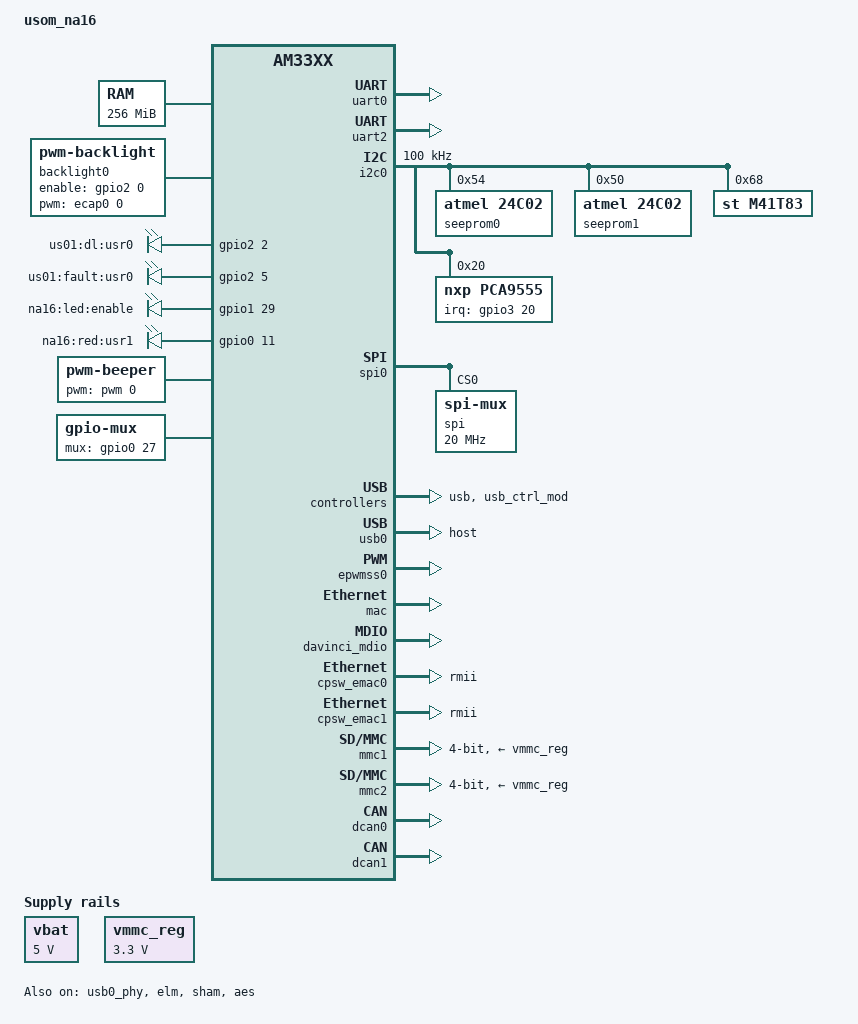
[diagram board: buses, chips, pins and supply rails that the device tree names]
/*
 * Copyright (C) 2012 Texas Instruments Incorporated - http://www.ti.com/
 *
 * This program is free software; you can redistribute it and/or modify
 * it under the terms of the GNU General Public License version 2 as
 * published by the Free Software Foundation.
 */
/dts-v1/;

#include "am33xx.dtsi"
#include <dt-bindings/interrupt-controller/irq.h>

/ {
	model = "usom_na16";
	compatible = "ti,am335x-evm", "ti,am33xx";

	memory@80000000 {
		device_type = "memory";
		reg = <0x80000000 0x10000000>; /* 256 MB */
	};

	chosen {
		stdout-path = &uart0;
	};
	
	vbat: fixedregulator@0 {
		compatible = "regulator-fixed";
		regulator-name = "vbat";
		regulator-min-microvolt = <5000000>;
		regulator-max-microvolt = <5000000>;
		regulator-boot-on;
	};

	vmmc_reg: fixedregulator@1 {
		compatible = "regulator-fixed";
		regulator-name = "vmmc";
		regulator-min-microvolt = <3300000>;
		regulator-max-microvolt = <3300000>;
		regulator-boot-on;
		regulator-always-on;
	};

	backlight0: backlight {
		compatible = "pwm-backlight";
		pwms = <&ecap0 0 50000 0>;
		brightness-levels = <0 4 8 12 16 20 24 28 32 36 40 44 48 52 56 60 64 68 72 76 80 84 88 92 96 100>;
		default-brightness-level = <0>;
		enable-gpios = <&gpio2 0 0>;
	};

	leds {
		pinctrl-names = "default";
		pinctrl-0 = <&user_leds_default>;

		compatible = "gpio-leds";

		led@1 {
			label = "us01:dl:usr0";
			gpios = <&gpio2 2 GPIO_ACTIVE_HIGH>;
			default-state = "on";
		};

		led@2 {
			label = "us01:fault:usr0";
			gpios = <&gpio2 5 GPIO_ACTIVE_HIGH>;
			default-state = "off";
		};

		led@3 {
			label = "na16:led:enable";
			gpios = <&gpio1 29 GPIO_ACTIVE_HIGH>;
			default-state = "on";
		};

		led@4 {
			label = "na16:red:usr1";
			gpios = <&gpio0 11 GPIO_ACTIVE_HIGH>;
			default-state = "on";
		};
	};
	
	pwm: omap-pwm {
	  compatible = "ti,omap-dmtimer-pwm";
	  ti,timers = <&timer6>;
	  #pwm-cells = <3>;
	};

	working_hours {
	  compatible = "working_hours";
	  nvmem-names = "eeprom", "rtcnvram";
	  nvmem = <&seeprom0>, <&m41t83>;
	  status = "okay";
	};	
	
	beeper {
	  compatible = "pwm-beeper";
	  pwms = <&pwm 0 50000 0>;
	};

	mux: mux-controller {
		compatible = "gpio-mux";
		#mux-control-cells = <0>;
		mux-gpios = <&gpio0 27 0>;
	};
};

&uart0 {
	/delete-property/dmas;
	/delete-property/dma-names;
	pinctrl-names = "default";
	pinctrl-0 = <&uart0_pins>;
	rts-gpio = <&gpio1 6 0>;
	mode-gpio = <&gpio1 7 0>;
	rxen-gpio = <&gpio1 5 0>;
	rs485-rts-active-high;
	status = "okay";
};

&uart2 {
	/delete-property/dmas;
	/delete-property/dma-names;
	pinctrl-names = "default";
	pinctrl-0 = <&uart2_pins>;
	rts-gpio = <&gpio3 16 0>;
	mode-gpio = <&gpio3 15 0>;
	rxen-gpio = <&gpio3 21 0>;
	rs485-rts-active-high;
	status = "okay";
};

&i2c0 {
	pinctrl-names = "default";
	pinctrl-0 = <&i2c0_pins>;

	status = "okay";
	clock-frequency = <100000>;

	seeprom0:seeprom0@54 {
		compatible = "atmel,24c02";
		reg = <0x54>;
	};

	seeprom1:seeprom1@50 {
		compatible = "atmel,24c02";
		reg = <0x50>;
	};
			
	m41t83:m41t83@68 {
		compatible = "st,m41t83";
		reg = <0x68>;
	};

	pca9555: pca9555@20 {
		compatible = "nxp,pca9555";
		interrupt-parent = <&gpio3>;
		interrupts = <20 0x8>;
		gpio-controller;
		#gpio-cells = <2>;
		interrupt-controller;
		#interrupt-cells = <2>;
		reg = <0x20>;
	};
};

&spi0 {
	pinctrl-names = "default";
	pinctrl-0 = <&spi0_pins>;
	bus-num = <0>;
	status = "okay";

	spi@0 {
	  compatible = "spi-mux";
	  #address-cells = <1>;
	  #size-cells = <0>;
	  reg = <0>;
	  spi-max-frequency = <20000000>;
	  mux-controls = <&mux>;
	  
	  tja1145: tja1145@0 {
	    compatible = "nxp,tja1145";
	    reg = <0>;
	    spi-cpha;
	    spi-max-frequency = <500000>;
	  };
			  
	  fram: at25@1 {
	    compatible = "atmel,at25", "st,m95256";
	    reg = <1>;
	    spi-max-frequency = <20000000>;
	    pagesize = <64>;
	    size = <65536>;
	    address-width = <16>;
	  };
	};
};
		
&usb {
	status = "okay";
};

&usb_ctrl_mod {
	status = "okay";
};

&usb0_phy {
	status = "okay";
};

&usb0 {
	status = "okay";
	dr_mode = "host";
};

&cppi41dma  {
	status = "okay";
};

&elm {
	status = "okay";
};

&epwmss0 {
	status = "okay";

	ecap0: pwm@100 {
		status = "okay";
		pinctrl-names = "default", "sleep";
		pinctrl-0 = <&ecap0_pins_default>;
		pinctrl-1 = <&ecap0_pins_sleep>;
	};
};

&mac {
	slaves = <2>;
	pinctrl-names = "default", "sleep";
	pinctrl-0 = <&cpsw_default>;
	pinctrl-1 = <&cpsw_sleep>;
	dual_emac;
	status = "okay";
};

&davinci_mdio {
	pinctrl-names = "default", "sleep";
	pinctrl-0 = <&davinci_mdio_default>;
	pinctrl-1 = <&davinci_mdio_sleep>;
	status = "okay";
};

&cpsw_emac0 {
  phy_id = <&davinci_mdio>, <0>;
  phy-mode = "rmii";
  status = "okay";
};

&cpsw_emac1 {
  phy_id = <&davinci_mdio>, <1>;
  phy-mode = "rmii";
  status = "okay";
};

&mmc1 {
	status = "okay";
	vmmc-supply = <&vmmc_reg>;
	bus-width = <4>;
	pinctrl-names = "default", "sleep";
	pinctrl-0 = <&mmc1_pins_default>;
	pinctrl-1 = <&mmc1_pins_sleep>;
};

&mmc2 {
  vmmc-supply = <&vmmc_reg>;
  pinctrl-names = "default";
  pinctrl-0 = <&emmc_pins>;
  bus-width = <4>;
  ti,non-removable;
  status = "okay";
};

&edma {
	ti,edma-xbar-event-map = <1 12
				  2 13>;
};

&dcan0 {
	pinctrl-names = "default";
	pinctrl-0 = <&dcan0_pins_default>;
	status = "okay";
};

&dcan1 {
	pinctrl-names = "default";
	pinctrl-0 = <&dcan1_pins_default>;
	status = "okay";
};

&sham {
	status = "okay";
};

&aes {
	status = "okay";
};

&am33xx_pinmux {
		pinctrl-names = "default";
		pinctrl-0 = <&clkout2_pin &phyuart_ctrl_pins &buzzer_pins_enable>;

		i2c0_pins: pinmux_i2c0_pins {
			pinctrl-single,pins = <
				AM33XX_PADCONF(AM335X_PIN_I2C0_SDA, PIN_INPUT_PULLUP, MUX_MODE0)	/* i2c0_sda.i2c0_sda */
				AM33XX_PADCONF(AM335X_PIN_I2C0_SCL, PIN_INPUT_PULLUP, MUX_MODE0)	/* i2c0_scl.i2c0_scl */
				AM33XX_PADCONF(AM335X_PIN_MCASP0_AXR1, PIN_INPUT_PULLDOWN, MUX_MODE7)	/* i2c0_scl.i2c0_scl */
			>;
		};

		spi0_pins: pinmux_spi0_pins {
			pinctrl-single,pins = <
				AM33XX_PADCONF(AM335X_PIN_SPI0_SCLK, PIN_INPUT_PULLUP, MUX_MODE0)
				AM33XX_PADCONF(AM335X_PIN_SPI0_D0, PIN_INPUT_PULLUP, MUX_MODE0) 
				AM33XX_PADCONF(AM335X_PIN_SPI0_D1, PIN_INPUT_PULLUP, MUX_MODE0) 
				AM33XX_PADCONF(AM335X_PIN_SPI0_CS0, PIN_INPUT_PULLUP, MUX_MODE0) 
				AM33XX_PADCONF(AM335X_PIN_GPMC_AD11, PIN_INPUT_PULLUP, MUX_MODE7)   /* gpmc_ad11, SEL_CS_SP1 gpio, pullup (Select FRAM) */
				AM33XX_PADCONF(AM335X_PIN_GPMC_AD10, PIN_INPUT_PULLUP, MUX_MODE7)   /* gpmc_ad10, SEL_CS_SP1 gpio, pullup (Select FRAM) */
				AM33XX_PADCONF(AM335X_PIN_GPMC_AD9, PIN_OUTPUT_PULLDOWN, MUX_MODE7) /* gpmc_ad10, SEL_CS_SP1 gpio, pulldw (Select FRAM) */
			>;
		};
		
		uart0_pins: pinmux_uart0_pins {
			pinctrl-single,pins = <
				AM33XX_PADCONF(AM335X_PIN_UART0_RXD, PIN_INPUT_PULLUP, MUX_MODE0)
				AM33XX_PADCONF(AM335X_PIN_UART0_TXD, PIN_OUTPUT_PULLDOWN, MUX_MODE0)
				AM33XX_PADCONF(AM335X_PIN_UART0_CTSN, PIN_INPUT, MUX_MODE0)
				AM33XX_PADCONF(AM335X_PIN_UART0_RTSN, PIN_OUTPUT_PULLDOWN, MUX_MODE0)
			>;
		};
		
		uart2_pins: pinmux_uart2_pins {
		  pinctrl-single,pins = <
				AM33XX_PADCONF(AM335X_PIN_MII1_TX_CLK, PIN_INPUT_PULLUP, MUX_MODE1)
				AM33XX_PADCONF(AM335X_PIN_MII1_RX_CLK, PIN_OUTPUT_PULLDOWN, MUX_MODE1)
		    >;
		};

		clkout2_pin: pinmux_clkout2_pin {
			pinctrl-single,pins = <
				AM33XX_PADCONF(AM335X_PIN_XDMA_EVENT_INTR1, PIN_OUTPUT_PULLDOWN, MUX_MODE3)	/* xdma_event_intr1.clkout2 */
			>;
		};

		ecap0_pins_default: backlight_pins {
			pinctrl-single,pins = <
				AM33XX_PADCONF(AM335X_PIN_ECAP0_IN_PWM0_OUT, 0x0, MUX_MODE0)
			>;
		};

		ecap0_pins_sleep: ecap0_pins_sleep {
			pinctrl-single,pins = <
				AM33XX_PADCONF(AM335X_PIN_ECAP0_IN_PWM0_OUT, 0x0, MUX_MODE7)
			>;
		};

		cpsw_default: cpsw_default {
		  pinctrl-single,pins = <
		  /* Slave 1 */
		  AM33XX_PADCONF(AM335X_PIN_MII1_CRS, PIN_INPUT_PULLDOWN, MUX_MODE1)      /* rmii1_crs_dv */
		  AM33XX_PADCONF(AM335X_PIN_RMII1_REF_CLK, PIN_INPUT_PULLDOWN, MUX_MODE0) /* rmii1_refclk */
		  AM33XX_PADCONF(AM335X_PIN_MII1_RXD1, PIN_INPUT_PULLDOWN, MUX_MODE1)	  /* rmii1_rd1 */
		  AM33XX_PADCONF(AM335X_PIN_MII1_RXD0, PIN_INPUT_PULLDOWN, MUX_MODE1)	  /* rmii1_rd0 */
		  AM33XX_PADCONF(AM335X_PIN_MII1_TXD1, PIN_OUTPUT_PULLDOWN, MUX_MODE1)	  /* rmii1_td1 */
		  AM33XX_PADCONF(AM335X_PIN_MII1_TXD0, PIN_OUTPUT_PULLDOWN, MUX_MODE1)	  /* rmii1_td0 */
		  AM33XX_PADCONF(AM335X_PIN_MII1_RX_ER, PIN_INPUT_PULLDOWN, MUX_MODE1)	  /* rmii1_rxer */
		  AM33XX_PADCONF(AM335X_PIN_MII1_TX_EN, PIN_OUTPUT_PULLDOWN, MUX_MODE1)	  /* rmii1_txen */
		  
		  /* Slave 2 */
		  AM33XX_PADCONF(AM335X_PIN_GPMC_WAIT0, PIN_INPUT_PULLDOWN, MUX_MODE3)	  /* rmii2_crs_dv */
		  AM33XX_PADCONF(AM335X_PIN_MII1_COL, PIN_INPUT_PULLDOWN, MUX_MODE1)	  /* rmii2_refclk */
		  AM33XX_PADCONF(AM335X_PIN_GPMC_A11, PIN_INPUT_PULLDOWN, MUX_MODE3)	  /* rmii2_rd0 */
		  AM33XX_PADCONF(AM335X_PIN_GPMC_A10, PIN_INPUT_PULLDOWN, MUX_MODE3)	  /* rmii2_rd1 */
		  AM33XX_PADCONF(AM335X_PIN_GPMC_A5, PIN_OUTPUT_PULLDOWN, MUX_MODE3)	  /* rmii2_td0 */
		  AM33XX_PADCONF(AM335X_PIN_GPMC_A4, PIN_OUTPUT_PULLDOWN, MUX_MODE3)	  /* rmii2_td1 */
		  AM33XX_PADCONF(AM335X_PIN_GPMC_WPN, PIN_INPUT_PULLDOWN, MUX_MODE3)	  /* rmii2_rxer */
		  AM33XX_PADCONF(AM335X_PIN_GPMC_A0, PIN_OUTPUT_PULLDOWN, MUX_MODE3)	  /* rmii2_txen */
		  >;
		};
		
		cpsw_sleep: cpsw_sleep {
		  pinctrl-single,pins = <
		  /* Slave 1 */
		  AM33XX_PADCONF(AM335X_PIN_MII1_CRS, PIN_INPUT_PULLDOWN, MUX_MODE7)      /* rmii1_crs_dv */
		  AM33XX_PADCONF(AM335X_PIN_RMII1_REF_CLK, PIN_INPUT_PULLDOWN, MUX_MODE7) /* rmii1_refclk */
		  AM33XX_PADCONF(AM335X_PIN_MII1_RXD1, PIN_INPUT_PULLDOWN, MUX_MODE7)	  /* rmii1_rd1 */
		  AM33XX_PADCONF(AM335X_PIN_MII1_RXD0, PIN_INPUT_PULLDOWN, MUX_MODE7)	  /* rmii1_rd0 */
		  AM33XX_PADCONF(AM335X_PIN_MII1_TXD1, PIN_INPUT_PULLDOWN, MUX_MODE7)	  /* rmii1_td1 */
		  AM33XX_PADCONF(AM335X_PIN_MII1_TXD0, PIN_INPUT_PULLDOWN, MUX_MODE7)	  /* rmii1_td0 */
		  AM33XX_PADCONF(AM335X_PIN_MII1_RX_ER, PIN_INPUT_PULLDOWN, MUX_MODE7)	  /* rmii1_rxer */
		  AM33XX_PADCONF(AM335X_PIN_MII1_TX_EN, PIN_INPUT_PULLDOWN, MUX_MODE7)	  /* rmii1_txen */
		  
		  /* Slave 2 */
		  AM33XX_PADCONF(AM335X_PIN_GPMC_WAIT0, PIN_INPUT_PULLDOWN, MUX_MODE7)	  /* rmii2_crs_dv */
		  AM33XX_PADCONF(AM335X_PIN_MII1_COL, PIN_INPUT_PULLDOWN, MUX_MODE7)	  /* rmii2_refclk */
		  AM33XX_PADCONF(AM335X_PIN_GPMC_A11, PIN_INPUT_PULLDOWN, MUX_MODE7)	  /* rmii2_rd0 */
		  AM33XX_PADCONF(AM335X_PIN_GPMC_A10, PIN_INPUT_PULLDOWN, MUX_MODE7)	  /* rmii2_rd1 */
		  AM33XX_PADCONF(AM335X_PIN_GPMC_A5, PIN_INPUT_PULLDOWN, MUX_MODE7)	      /* rmii2_td0 */
		  AM33XX_PADCONF(AM335X_PIN_GPMC_A4, PIN_INPUT_PULLDOWN, MUX_MODE7)	      /* rmii2_td1 */
		  AM33XX_PADCONF(AM335X_PIN_GPMC_WPN, PIN_INPUT_PULLDOWN, MUX_MODE7)	  /* rmii2_rxer */
		  AM33XX_PADCONF(AM335X_PIN_GPMC_A0, PIN_INPUT_PULLDOWN, MUX_MODE7)	      /* rmii2_txen */
		  >;
		};

		davinci_mdio_default: davinci_mdio_default {
			pinctrl-single,pins = <
				/* MDIO */
				AM33XX_PADCONF(AM335X_PIN_MDIO, PIN_INPUT_PULLUP | SLEWCTRL_FAST, MUX_MODE0)
				AM33XX_PADCONF(AM335X_PIN_MDC, PIN_OUTPUT_PULLUP, MUX_MODE0)
			>;
		};

		davinci_mdio_sleep: davinci_mdio_sleep {
			pinctrl-single,pins = <
				/* MDIO reset value */
				AM33XX_PADCONF(AM335X_PIN_MDIO, PIN_INPUT_PULLDOWN, MUX_MODE7)
				AM33XX_PADCONF(AM335X_PIN_MDC, PIN_INPUT_PULLDOWN, MUX_MODE7)
			>;
		};
		
		mmc1_pins_default: pinmux_mmc1_pins {
			pinctrl-single,pins = <
				AM33XX_PADCONF(AM335X_PIN_MMC0_DAT0, PIN_INPUT_PULLUP, MUX_MODE0)
				AM33XX_PADCONF(AM335X_PIN_MMC0_DAT1, PIN_INPUT_PULLUP, MUX_MODE0)
				AM33XX_PADCONF(AM335X_PIN_MMC0_DAT2, PIN_INPUT_PULLUP, MUX_MODE0)
				AM33XX_PADCONF(AM335X_PIN_MMC0_DAT3, PIN_INPUT_PULLUP, MUX_MODE0)
				AM33XX_PADCONF(AM335X_PIN_MMC0_CMD, PIN_INPUT_PULLUP, MUX_MODE0)
				AM33XX_PADCONF(AM335X_PIN_MMC0_CLK, PIN_INPUT_PULLUP, MUX_MODE0)
			>;
		};

		mmc1_pins_sleep: pinmux_mmc1_pins_sleep {
			pinctrl-single,pins = <
				AM33XX_PADCONF(AM335X_PIN_MMC0_DAT0, PIN_INPUT_PULLDOWN, MUX_MODE7)
				AM33XX_PADCONF(AM335X_PIN_MMC0_DAT1, PIN_INPUT_PULLDOWN, MUX_MODE7)
				AM33XX_PADCONF(AM335X_PIN_MMC0_DAT2, PIN_INPUT_PULLDOWN, MUX_MODE7)
				AM33XX_PADCONF(AM335X_PIN_MMC0_DAT3, PIN_INPUT_PULLDOWN, MUX_MODE7)
				AM33XX_PADCONF(AM335X_PIN_MMC0_CMD, PIN_INPUT_PULLDOWN, MUX_MODE7)
				AM33XX_PADCONF(AM335X_PIN_MMC0_CLK, PIN_INPUT_PULLDOWN, MUX_MODE7)
			>;
		};

		emmc_pins: pinmux_emmc_pins {
		  pinctrl-single,pins = <
				AM33XX_PADCONF(AM335X_PIN_GPMC_CSN1, PIN_INPUT_PULLUP, MUX_MODE2)
				AM33XX_PADCONF(AM335X_PIN_GPMC_CSN2, PIN_INPUT_PULLUP, MUX_MODE2)
				AM33XX_PADCONF(AM335X_PIN_GPMC_AD0, PIN_INPUT_PULLUP, MUX_MODE1)
				AM33XX_PADCONF(AM335X_PIN_GPMC_AD1, PIN_INPUT_PULLUP, MUX_MODE1)
				AM33XX_PADCONF(AM335X_PIN_GPMC_AD2, PIN_INPUT_PULLUP, MUX_MODE1)
				AM33XX_PADCONF(AM335X_PIN_GPMC_AD3, PIN_INPUT_PULLUP, MUX_MODE1)
			>;
		};

		phyuart_ctrl_pins: pinmux_phyuart_ctrl_pins {
			pinctrl-single,pins = <
				AM33XX_PADCONF(AM335X_PIN_GPMC_AD7, PIN_OUTPUT_PULLDOWN, MUX_MODE7) /* RS232/485 MODE */
				AM33XX_PADCONF(AM335X_PIN_GPMC_AD6, PIN_OUTPUT_PULLDOWN, MUX_MODE7) /* DXEN */
				AM33XX_PADCONF(AM335X_PIN_GPMC_AD5, PIN_OUTPUT_PULLUP, MUX_MODE7)   /* RXEN */
				
				AM33XX_PADCONF(AM335X_PIN_MCASP0_FSX, PIN_OUTPUT_PULLDOWN, MUX_MODE7)  /* RS232/485 MODE1 */
				AM33XX_PADCONF(AM335X_PIN_MCASP0_AXR0, PIN_OUTPUT_PULLDOWN, MUX_MODE7) /* DXEN1 */
				AM33XX_PADCONF(AM335X_PIN_MCASP0_AHCLKX, PIN_OUTPUT_PULLUP, MUX_MODE7) /* RXEN1 */
			>;
		};

		buzzer_pins_enable: pinmux_buzzer_pins_enable {
		  pinctrl-single,pins = <
				AM33XX_PADCONF(AM335X_PIN_GPMC_WEN, 0x0, MUX_MODE2) 
		  >;
		};

		user_leds_default: user_leds_default {
			pinctrl-single,pins = <
//				AM33XX_PADCONF(AM335X_PIN_MCASP0_FSX, PIN_OUTPUT_PULLDOWN, MUX_MODE7) 
//				AM33XX_PADCONF(AM335X_PIN_MCASP0_ACLKX, PIN_OUTPUT_PULLDOWN, MUX_MODE7) 
				AM33XX_PADCONF(AM335X_PIN_LCD_DATA15, PIN_OUTPUT_PULLDOWN, MUX_MODE7) 
				AM33XX_PADCONF(AM335X_PIN_GPMC_CSN0, PIN_OUTPUT_PULLUP, MUX_MODE7) 
			>;
		};

		dcan0_pins_default: dcan0_pins_default {
			pinctrl-single,pins = <
				AM33XX_PADCONF(AM335X_PIN_MII1_TXD3, PIN_OUTPUT_PULLDOWN, MUX_MODE1) 
				AM33XX_PADCONF(AM335X_PIN_MII1_TXD2, PIN_OUTPUT_PULLDOWN, MUX_MODE1) 
			>;
		};

		dcan1_pins_default: dcan1_pins_default {
			pinctrl-single,pins = <
				AM33XX_PADCONF(AM335X_PIN_UART1_TXD, PIN_OUTPUT_PULLDOWN, MUX_MODE2) 
				AM33XX_PADCONF(AM335X_PIN_UART1_RXD, PIN_OUTPUT_PULLDOWN, MUX_MODE2) 
			>;
		};
};
